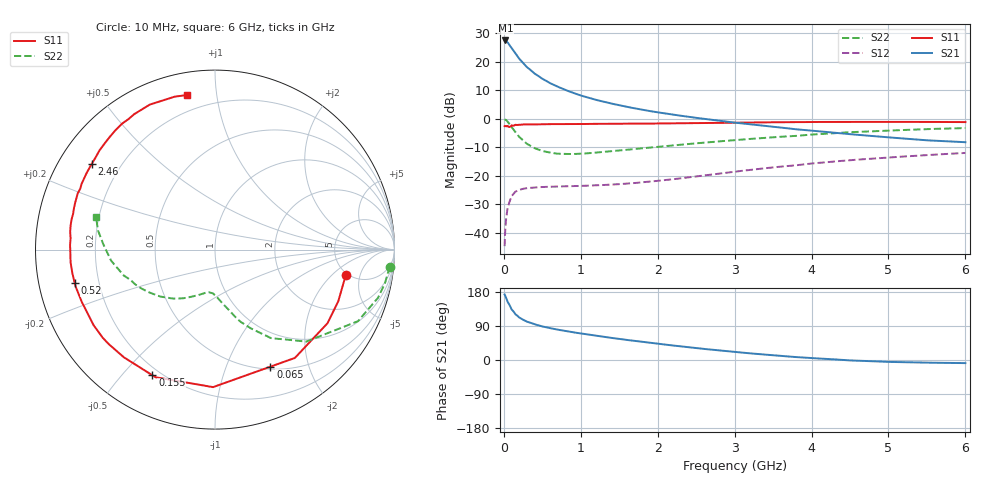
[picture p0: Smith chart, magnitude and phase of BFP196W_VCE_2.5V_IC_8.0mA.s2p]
! Infineon Technologies  Discrete & RF Semiconductors
! BFP196W
! VCE = 2.5 V,  IC = 8.0mA
! Common Emitter S-Parameters:  Jan 2016
# GHz  S  MA  R  50
!  f  S11  S21  S12  S22
! GHz  MAG  ANG  MAG  ANG  MAG  ANG  MAG  ANG
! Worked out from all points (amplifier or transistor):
!   210 points, 10 MHz to 6 GHz, reference 50 ohm
!   highest |S21| = 27.5 dB at 20 MHz (marker M1)
!   |S21| within 3 dB of that: start of sweep to 110.9 MHz
!   unconditionally stable (mu >= 1): 1.272 GHz to 3.298 GHz
!   at 185 MHz: K = 0.19, MSG = 23.4 dB, |S12| = -25.2 dB
!   at 1.52 GHz: K = 1.12, MAG = 11.7 dB, |S12| = -22.9 dB
!   at 6 GHz: K = 0.96, MSG = 1.9 dB, |S12| = -12.0 dB
!   S11 on the Smith chart (normalised r, x): 10 MHz: 4.74, -3.04; 65 MHz: 0.53, -1.44; 155 MHz: 0.17, -0.61; 520 MHz: 0.11, -0.12; 2.46 GHz: 0.10, +0.31; 6 GHz: 0.11, +0.83
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0.01  0.7422 -11.2  23.56 172.9  0.0058 82.7  0.9777 -5.6
0.02  0.7447 -22.7  23.73 168.9  0.012 79.6  0.9654 -11.2
0.03  0.7492 -33.2  23.28 163.6  0.0177 74.7  0.947 -16.5
0.05  0.7499 -53.6  21.96 153.3  0.0274 65.5  0.8909 -26.6
0.065  0.7216 -64.7  20.44 148.4  0.0319 58.5  0.8319 -31.4
0.1  0.7663 -90.8  17.64 133.9  0.0437 48.2  0.7223 -45.2
0.15  0.7845 -115.0  14.1 120.8  0.0525 37.4  0.5832 -57.7
0.155  0.7822 -116.5  13.81 120.1  0.0529 36.7  0.5726 -58.4
0.2  0.786 -130.2  11.35 112.2  0.0565 31.3  0.4814 -65.6
0.26  0.7953 -141.9  9.219 105.2  0.0594 26.6  0.4064 -72.2
0.3  0.7968 -148.1  8.068 101.2  0.0607 24.5  0.3637 -75.3
0.4  0.7975 -158.6  6.223 94.0  0.0622 21.7  0.3054 -81.7
0.52  0.8037 -166.6  4.883 87.7  0.0635 20.6  0.2683 -87.1
0.7  0.8077 -175.1  3.661 80.1  0.0646 20.8  0.244 -92.8
1.02  0.8081 175.1  2.519 69.4  0.0664 24.1  0.2444 -101.5
1.4  0.8152 165.9  1.848 58.3  0.0699 29.8  0.2699 -110.0
2.02  0.8288 153.4  1.286 42.5  0.0819 40.1  0.3234 -123.2
2.46  0.8363 145.3  1.056 32.5  0.0958 45.0  0.3669 -132.4
3.1  0.8559 134.5  0.829 19.5  0.1221 47.5  0.4323 -146.0
4.1  0.8792 119.5  0.603 3.9  0.1686 44.4  0.5375 -166.2
5.1  0.8801 108.1  0.461 -5.4  0.2134 37.3  0.6283 176.2
6  0.875 100.4  0.388 -8.2  0.2515 30.5  0.6867 164.8
